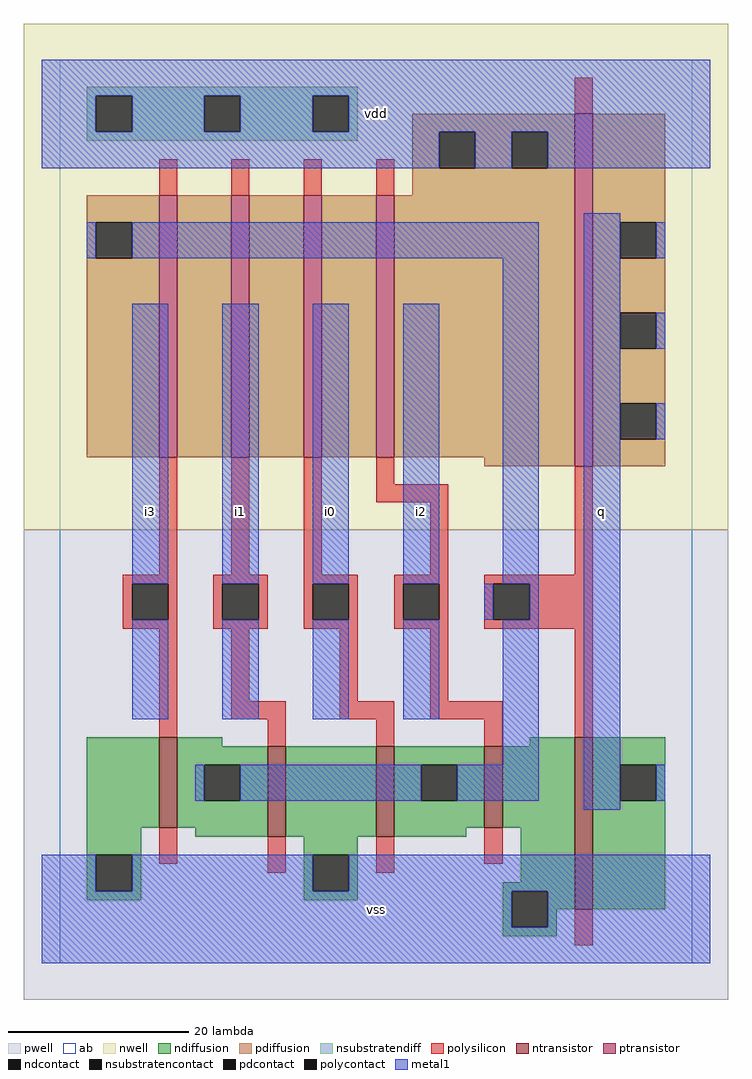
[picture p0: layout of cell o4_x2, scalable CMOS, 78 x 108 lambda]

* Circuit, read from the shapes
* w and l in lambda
.subckt o4_x2 i0 i1 i2 i3 q vdd vss
M1 n1 i3 vss VSUBS nfet w=10 l=2
M2 vss i1 n1 VSUBS nfet w=10 l=2
M3 n1 i0 vss VSUBS nfet w=10 l=2
M4 vss i2 n1 VSUBS nfet w=9 l=2
M5 q n1 vss VSUBS nfet w=19 l=2
M6 n2 i3 n1 vdd pfet w=29 l=2
M7 n3 i1 n2 vdd pfet w=29 l=2
M8 n4 i0 n3 vdd pfet w=29 l=2
M9 vdd i2 n4 vdd pfet w=29 l=2
M10 q n1 vdd vdd pfet w=39 l=2
.ends

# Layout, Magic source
magic
tech scmos
<< ab >>
rect 0 0 70 100
<< pwell >>
rect -4 -4 74 48
<< nwell >>
rect -4 48 74 104
<< polysilicon >>
rect 57 94 59 98
rect 11 85 13 89
rect 19 85 21 89
rect 27 85 29 89
rect 35 85 37 89
rect 11 43 13 56
rect 19 43 21 56
rect 27 43 29 56
rect 35 53 37 56
rect 35 51 43 53
rect 41 43 43 51
rect 57 43 59 55
rect 7 42 13 43
rect 7 38 8 42
rect 12 38 13 42
rect 7 37 13 38
rect 17 42 23 43
rect 17 38 18 42
rect 22 38 23 42
rect 17 37 23 38
rect 27 42 33 43
rect 27 38 28 42
rect 32 38 33 42
rect 27 37 33 38
rect 37 42 43 43
rect 37 38 38 42
rect 42 38 43 42
rect 37 37 43 38
rect 47 42 59 43
rect 47 38 48 42
rect 52 38 59 42
rect 47 37 59 38
rect 11 25 13 37
rect 19 29 21 37
rect 31 29 33 37
rect 41 29 43 37
rect 19 27 25 29
rect 31 27 37 29
rect 41 27 49 29
rect 23 24 25 27
rect 35 24 37 27
rect 47 24 49 27
rect 57 25 59 37
rect 11 11 13 15
rect 23 10 25 14
rect 35 10 37 14
rect 47 11 49 15
rect 57 2 59 6
<< ndiffusion >>
rect 3 15 11 25
rect 13 24 18 25
rect 52 24 57 25
rect 13 22 23 24
rect 13 18 16 22
rect 20 18 23 22
rect 13 15 23 18
rect 3 12 9 15
rect 3 8 4 12
rect 8 8 9 12
rect 15 14 23 15
rect 25 14 35 24
rect 37 22 47 24
rect 37 18 40 22
rect 44 18 47 22
rect 37 15 47 18
rect 49 15 57 24
rect 37 14 45 15
rect 27 12 33 14
rect 3 7 9 8
rect 27 8 28 12
rect 32 8 33 12
rect 51 9 57 15
rect 27 7 33 8
rect 49 8 57 9
rect 49 4 50 8
rect 54 6 57 8
rect 59 22 67 25
rect 59 18 62 22
rect 66 18 67 22
rect 59 6 67 18
rect 54 4 55 6
rect 49 3 55 4
<< pdiffusion >>
rect 39 92 57 94
rect 39 88 42 92
rect 46 88 50 92
rect 54 88 57 92
rect 39 85 57 88
rect 3 82 11 85
rect 3 78 4 82
rect 8 78 11 82
rect 3 56 11 78
rect 13 56 19 85
rect 21 56 27 85
rect 29 56 35 85
rect 37 56 57 85
rect 47 55 57 56
rect 59 82 67 94
rect 59 78 62 82
rect 66 78 67 82
rect 59 72 67 78
rect 59 68 62 72
rect 66 68 67 72
rect 59 62 67 68
rect 59 58 62 62
rect 66 58 67 62
rect 59 55 67 58
<< metal1 >>
rect -2 96 72 100
rect -2 92 4 96
rect 8 92 16 96
rect 20 92 28 96
rect 32 92 72 96
rect -2 88 42 92
rect 46 88 50 92
rect 54 88 72 92
rect 3 78 4 82
rect 8 78 53 82
rect 8 42 12 73
rect 8 27 12 38
rect 18 42 22 73
rect 18 27 22 38
rect 28 42 32 73
rect 28 27 32 38
rect 38 42 42 73
rect 49 42 53 78
rect 47 38 48 42
rect 52 38 53 42
rect 38 27 42 38
rect 49 22 53 38
rect 15 18 16 22
rect 20 18 40 22
rect 44 18 53 22
rect 58 17 62 83
rect 66 78 67 82
rect 66 68 67 72
rect 66 58 67 62
rect 66 18 67 22
rect -2 8 4 12
rect 8 8 28 12
rect 32 8 72 12
rect -2 4 50 8
rect 54 4 72 8
rect -2 0 72 4
<< ntransistor >>
rect 11 15 13 25
rect 23 14 25 24
rect 35 14 37 24
rect 47 15 49 24
rect 57 6 59 25
<< ptransistor >>
rect 11 56 13 85
rect 19 56 21 85
rect 27 56 29 85
rect 35 56 37 85
rect 57 55 59 94
<< polycontact >>
rect 8 38 12 42
rect 18 38 22 42
rect 28 38 32 42
rect 38 38 42 42
rect 48 38 52 42
<< ndcontact >>
rect 16 18 20 22
rect 4 8 8 12
rect 40 18 44 22
rect 28 8 32 12
rect 50 4 54 8
rect 62 18 66 22
<< pdcontact >>
rect 42 88 46 92
rect 50 88 54 92
rect 4 78 8 82
rect 62 78 66 82
rect 62 68 66 72
rect 62 58 66 62
<< nsubstratencontact >>
rect 4 92 8 96
rect 16 92 20 96
rect 28 92 32 96
<< nsubstratendiff >>
rect 3 96 33 97
rect 3 92 4 96
rect 8 92 16 96
rect 20 92 28 96
rect 32 92 33 96
rect 3 91 33 92
<< labels >>
rlabel metal1 10 50 10 50 6 i3
rlabel metal1 30 50 30 50 6 i0
rlabel metal1 20 50 20 50 6 i1
rlabel metal1 35 6 35 6 6 vss
rlabel metal1 40 50 40 50 6 i2
rlabel metal1 35 94 35 94 6 vdd
rlabel metal1 60 50 60 50 6 q
<< end >>
